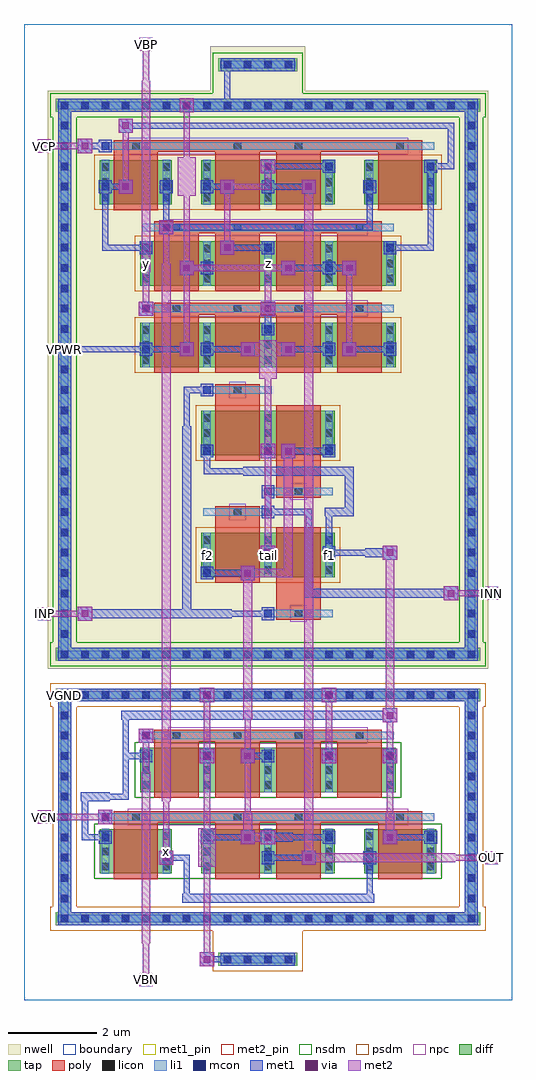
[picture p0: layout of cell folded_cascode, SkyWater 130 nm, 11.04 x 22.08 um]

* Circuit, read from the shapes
.subckt folded_cascode INN INP OUT VBN VBP VCN VCP VGND VPWR f1 f2 tail x y z
XM1 x VCN f1 VGND sky130_fd_pr__nfet_01v8 w=1 l=1 m=2
XM2 VGND VBN f1 VGND sky130_fd_pr__nfet_01v8 w=1 l=1 m=2
XM3 OUT VCN f2 VGND sky130_fd_pr__nfet_01v8 w=1 l=1 m=2
XM4 f2 VBN VGND VGND sky130_fd_pr__nfet_01v8 w=1 l=1 m=2
XM5 x VCP y VPWR sky130_fd_pr__pfet_01v8 w=1 l=1 m=2
XM6 tail VBP VPWR VPWR sky130_fd_pr__pfet_01v8 w=1 l=1 m=4
XM7 VPWR x y VPWR sky130_fd_pr__pfet_01v8 w=1 l=1 m=2
XM8 tail INN f2 VPWR sky130_fd_pr__pfet_01v8 w=1 l=1 m=2
XM9 tail INP f1 VPWR sky130_fd_pr__pfet_01v8 w=1 l=1 m=2
XM10 z x VPWR VPWR sky130_fd_pr__pfet_01v8 w=1 l=1 m=2
XM11 OUT VCP z VPWR sky130_fd_pr__pfet_01v8 w=1 l=1 m=2
.ends

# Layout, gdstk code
import gdstk
lib = gdstk.Library(unit=1e-6, precision=1e-09)
def R(c, l, rs):  # rectangles x0, y0, x1, y1
    for r in rs: c.add(gdstk.rectangle(r[:2], r[2:], *l))
def A(c, l, x, y, w, h, nx, ny, dx, dy):  # array of equal rectangles
    R(c, l, [(x+i*dx, y+j*dy, x+i*dx+w, y+j*dy+h) for i in range(nx) for j in range(ny)])
nwell = (64, 20)
diff = (65, 20)
tap = (65, 44)
poly = (66, 20)
licon = (66, 44)
li1 = (67, 20)
mcon = (67, 44)
met1_pin = (68, 16)
met1 = (68, 20)
via = (68, 44)
met2_pin = (69, 16)
met2 = (69, 20)
nsdm = (93, 44)
psdm = (94, 20)
npc = (95, 20)
boundary = (235, 4)

folded_cascode = lib.new_cell('folded_cascode')
R(folded_cascode, nwell, [(0.535,7.495,10.505,20.565), (4.215,20.565,6.365,21.58)])
R(folded_cascode, diff, [(1.715,2.865,3.345,3.865), (4.015,2.865,7.025,3.865), (7.695,2.865,9.325,3.865), (2.635,4.705,8.405,5.705), (4.015,9.565,7.025,10.565), (4.015,12.325,7.025,13.325), (2.635,14.32,8.405,15.32), (2.635,16.16,8.405,17.16), (1.715,18,3.345,19), (4.015,18,7.025,19), (7.695,18,9.325,19)])
R(folded_cascode, tap, [(4.395,0.775,6.185,1.065), (0.715,1.695,10.325,1.985), (0.775,1.695,1.065,7.045), (9.975,1.695,10.265,7.045), (0.715,6.755,10.325,7.045), (0.715,7.675,10.325,7.965), (0.775,7.675,1.065,20.385), (9.975,7.675,10.265,20.385), (0.715,20.095,10.325,20.385), (4.395,21.015,6.185,21.305)])
A(folded_cascode, poly, 2.95, 4.575, 1, 1.405, 4, 1, 1.38, 0)
A(folded_cascode, poly, 2.95, 14.19, 1, 1.45, 4, 2, 1.38, 1.84)
R(folded_cascode, poly, [(2.03,2.735,3.03,4.14), (4.33,2.735,5.33,4.14), (5.71,2.735,6.71,4.14), (8.01,2.735,9.01,4.14), (2.03,4.005,9.01,4.275), (2.95,5.845,8.09,6.115), (5.71,8.605,6.71,8.875), (5.71,8.74,6.71,10.695), (4.33,9.435,5.33,11.04), (4.33,10.905,5.33,11.175), (5.71,11.365,6.71,11.635), (5.71,11.5,6.71,13.455), (4.33,12.195,5.33,13.8), (4.33,13.665,5.33,13.935), (2.95,15.505,8.09,15.775), (2.95,17.345,8.09,17.615), (2.03,17.87,3.03,19.32), (4.33,17.87,5.33,19.32), (5.71,17.87,6.71,19.32), (8.01,17.87,9.01,19.32), (2.03,19.185,9.01,19.455)])
A(folded_cascode, licon, 4.515, 0.835, 0.17, 0.17, 4, 2, 0.46, 20.24)
A(folded_cascode, licon, 0.835, 1.755, 0.17, 0.17, 21, 2, 0.46, 5.06)
A(folded_cascode, licon, 0.835, 2.215, 0.17, 0.17, 1, 10, 0, 0.46)
A(folded_cascode, licon, 10.035, 2.215, 0.17, 0.17, 1, 10, 0, 0.46)
A(folded_cascode, licon, 1.755, 2.94, 0.17, 0.17, 1, 3, 0, 0.34)
A(folded_cascode, licon, 3.135, 2.94, 0.17, 0.17, 1, 3, 0, 0.34)
A(folded_cascode, licon, 4.055, 2.94, 0.17, 0.17, 3, 3, 1.38, 0.34)
A(folded_cascode, licon, 7.735, 2.94, 0.17, 0.17, 1, 3, 0, 0.34)
A(folded_cascode, licon, 9.115, 2.94, 0.17, 0.17, 1, 3, 0, 0.34)
A(folded_cascode, licon, 2.675, 4.78, 0.17, 0.17, 5, 3, 1.38, 0.34)
A(folded_cascode, licon, 3.365, 5.895, 0.17, 0.17, 4, 2, 1.38, 9.66)
A(folded_cascode, licon, 0.835, 7.735, 0.17, 0.17, 21, 2, 0.46, 12.42)
A(folded_cascode, licon, 0.835, 8.195, 0.17, 0.17, 1, 26, 0, 0.46)
A(folded_cascode, licon, 10.035, 8.195, 0.17, 0.17, 1, 26, 0, 0.46)
A(folded_cascode, licon, 4.055, 9.64, 0.17, 0.17, 3, 3, 1.38, 0.34)
A(folded_cascode, licon, 4.055, 12.4, 0.17, 0.17, 3, 3, 1.38, 0.34)
A(folded_cascode, licon, 2.675, 14.395, 0.17, 0.17, 5, 3, 1.38, 0.34)
A(folded_cascode, licon, 2.675, 16.235, 0.17, 0.17, 5, 3, 1.38, 0.34)
A(folded_cascode, licon, 3.365, 17.395, 0.17, 0.17, 4, 1, 1.38, 0)
A(folded_cascode, licon, 1.755, 18.075, 0.17, 0.17, 1, 3, 0, 0.34)
A(folded_cascode, licon, 3.135, 18.075, 0.17, 0.17, 1, 3, 0, 0.34)
A(folded_cascode, licon, 4.055, 18.075, 0.17, 0.17, 3, 3, 1.38, 0.34)
A(folded_cascode, licon, 7.735, 18.075, 0.17, 0.17, 1, 3, 0, 0.34)
A(folded_cascode, licon, 9.115, 18.075, 0.17, 0.17, 1, 3, 0, 0.34)
R(folded_cascode, licon, [(2.445,4.055,2.615,4.225), (4.745,4.055,4.915,4.225), (6.125,4.055,6.295,4.225), (8.425,4.055,8.595,4.225), (6.125,8.655,6.295,8.825), (4.745,10.955,4.915,11.125), (6.125,11.415,6.295,11.585), (4.745,13.715,4.915,13.885), (2.445,19.235,2.615,19.405), (4.745,19.235,4.915,19.405), (6.125,19.235,6.295,19.405), (8.425,19.235,8.595,19.405)])
A(folded_cascode, li1, 4.055, 2.86, 0.17, 1.01, 3, 2, 1.38, 6.7)
A(folded_cascode, li1, 2.675, 4.7, 0.17, 1.01, 5, 2, 1.38, 9.615)
A(folded_cascode, li1, 4.055, 12.32, 0.17, 1.01, 3, 2, 1.38, 5.675)
A(folded_cascode, li1, 2.675, 16.155, 0.17, 1.01, 5, 1, 1.38, 0)
R(folded_cascode, li1, [(4.435,0.835,6.145,1.005), (0.755,1.755,10.285,1.925), (0.835,1.755,1.005,6.985), (10.035,1.755,10.205,6.985), (1.755,2.86,1.925,3.87), (3.135,2.86,3.305,3.87), (7.735,2.86,7.905,3.87), (9.115,2.86,9.285,3.87), (1.755,4.055,9.285,4.225), (2.675,5.895,8.365,6.065), (0.755,6.815,10.285,6.985), (0.755,7.735,10.285,7.905), (0.835,7.735,1.005,20.325), (10.035,7.735,10.205,20.325), (5.435,8.655,6.985,8.825), (4.055,10.955,5.605,11.125), (5.435,11.415,6.985,11.585), (4.055,13.715,5.605,13.885), (2.675,15.555,8.365,15.725), (2.675,17.395,8.365,17.565), (1.755,17.995,1.925,19.005), (3.135,17.995,3.305,19.005), (7.735,17.995,7.905,19.005), (9.115,17.995,9.285,19.005), (1.755,19.235,9.285,19.405), (0.755,20.155,10.285,20.325), (4.435,21.075,6.145,21.245)])
A(folded_cascode, mcon, 4.515, 0.835, 0.17, 0.17, 4, 2, 0.46, 20.24)
A(folded_cascode, mcon, 0.835, 1.755, 0.17, 0.17, 21, 2, 0.46, 5.06)
A(folded_cascode, mcon, 0.835, 3.135, 0.17, 0.17, 5, 1, 2.3, 0)
A(folded_cascode, mcon, 0.835, 3.595, 0.17, 0.17, 1, 7, 0, 0.46)
A(folded_cascode, mcon, 10.035, 3.595, 0.17, 0.17, 1, 7, 0, 0.46)
A(folded_cascode, mcon, 2.675, 5.435, 0.17, 0.17, 5, 1, 1.38, 0)
A(folded_cascode, mcon, 0.835, 7.735, 0.17, 0.17, 21, 2, 0.46, 12.42)
A(folded_cascode, mcon, 0.835, 8.655, 0.17, 0.17, 3, 2, 4.6, 2.3)
A(folded_cascode, mcon, 0.835, 9.115, 0.17, 0.17, 1, 4, 0, 0.46)
A(folded_cascode, mcon, 10.035, 9.115, 0.17, 0.17, 1, 4, 0, 0.46)
A(folded_cascode, mcon, 0.835, 11.415, 0.17, 0.17, 3, 2, 4.6, 3.68)
A(folded_cascode, mcon, 0.835, 11.875, 0.17, 0.17, 1, 7, 0, 0.46)
A(folded_cascode, mcon, 10.035, 11.875, 0.17, 0.17, 1, 7, 0, 0.46)
A(folded_cascode, mcon, 4.055, 12.335, 0.17, 0.17, 3, 1, 1.38, 0)
A(folded_cascode, mcon, 4.055, 14.635, 0.17, 0.17, 1, 3, 0, 1.84)
A(folded_cascode, mcon, 0.835, 15.555, 0.17, 0.17, 1, 10, 0, 0.46)
A(folded_cascode, mcon, 10.035, 15.555, 0.17, 0.17, 1, 6, 0, 0.46)
A(folded_cascode, mcon, 2.675, 16.935, 0.17, 0.17, 3, 1, 2.76, 0)
A(folded_cascode, mcon, 5.435, 18.315, 0.17, 0.17, 3, 1, 2.3, 0)
A(folded_cascode, mcon, 10.035, 18.775, 0.17, 0.17, 1, 3, 0, 0.46)
R(folded_cascode, mcon, [(0.835,2.215,1.005,2.385), (10.035,2.215,10.205,2.385), (0.835,2.675,1.005,2.845), (10.035,2.675,10.205,2.845), (1.755,3.595,1.925,3.765), (4.055,3.595,4.225,3.765), (6.815,3.595,6.985,3.765), (9.115,3.595,9.285,3.765), (1.755,4.055,1.925,4.225), (2.675,5.895,2.845,6.065), (0.835,8.195,1.005,8.365), (10.035,8.195,10.205,8.365), (4.055,9.575,4.225,9.745), (5.435,10.035,5.605,10.205), (6.815,10.035,6.985,10.205), (4.055,13.715,4.225,13.885), (2.675,14.635,2.845,14.805), (6.815,14.635,6.985,14.805), (8.195,14.635,8.365,14.805), (2.675,15.555,2.845,15.725), (6.815,16.475,6.985,16.645), (3.135,17.395,3.305,17.565), (1.755,18.315,1.925,18.485), (3.135,18.315,3.305,18.485), (6.815,18.775,6.985,18.945), (9.115,18.775,9.285,18.945), (1.755,19.235,1.925,19.405)])
R(folded_cascode, met1_pin, [(0.85,6.83,0.99,6.97), (0.85,14.65,0.99,14.79)])
A(folded_cascode, met1, 3.075, 3.075, 0.29, 0.29, 3, 1, 2.3, 0)
A(folded_cascode, met1, 2.615, 5.375, 0.29, 0.29, 5, 1, 1.38, 0)
A(folded_cascode, met1, 5.36, 12.26, 0.32, 0.32, 1, 3, 0, 3.22)
A(folded_cascode, met1, 3.995, 12.275, 0.29, 0.29, 3, 1, 1.38, 0)
A(folded_cascode, met1, 3.995, 14.575, 0.29, 0.29, 1, 3, 0, 1.84)
A(folded_cascode, met1, 2.615, 16.875, 0.29, 0.29, 3, 1, 2.76, 0)
R(folded_cascode, met1, [(3.98,0.76,4.3,1.08), (4.455,0.775,6.125,1.065), (4.07,0.85,4.67,0.99), (4.53,0.85,4.67,0.99), (0.775,1.695,10.265,1.985), (0.775,1.695,1.065,7.045), (9.975,1.695,10.265,7.045), (3.58,2.2,7.92,2.4), (3.61,2.23,3.75,3.29), (7.75,2.23,7.89,3.29), (3.06,3.06,3.38,3.38), (6.28,3.06,6.6,3.38), (3.15,3.15,3.75,3.29), (5.45,3.15,6.51,3.29), (4.9,3.52,5.22,3.84), (5.36,3.52,5.68,3.84), (8.12,3.52,8.44,3.84), (1.695,3.535,1.985,3.825), (3.995,3.535,4.285,3.825), (6.755,3.535,7.045,3.825), (9.055,3.535,9.345,3.825), (5.42,3.58,6.08,3.78), (1.31,3.61,1.45,4.67), (1.31,3.61,1.91,3.75), (4.07,3.61,5.13,3.75), (5.91,3.61,6.97,3.75), (8.21,3.61,9.27,3.75), (1.68,3.98,2,4.3), (1.695,3.995,1.985,4.285), (1.28,4.5,1.94,4.7), (1.77,4.53,2.37,4.67), (2.23,4.53,2.37,5.59), (3.98,5.36,4.3,5.68), (4.9,5.36,5.22,5.68), (6.74,5.36,7.06,5.68), (8.12,5.36,8.44,5.68), (2.23,5.45,2.37,6.51), (2.23,5.45,2.83,5.59), (4.99,5.45,5.59,5.59), (2.6,5.82,2.92,6.14), (2.615,5.835,2.905,6.125), (8.12,6.28,8.44,6.6), (2.2,6.34,8.38,6.54), (3.98,6.74,4.3,7.06), (6.74,6.74,7.06,7.06), (0.775,6.755,10.265,7.045), (0.85,6.83,0.99,6.97), (0.85,6.83,4.21,6.97), (4.07,6.83,6.97,6.97), (4.07,6.83,4.21,6.97), (0.775,7.675,10.265,7.965), (0.775,7.675,1.065,20.385), (9.975,7.675,10.265,20.385), (1.22,8.58,1.54,8.9), (5.375,8.595,5.665,8.885), (1.28,8.64,4.7,8.84), (3.58,8.64,3.78,12.98), (4.53,8.67,5.59,8.81), (9.5,9.04,9.82,9.36), (6.34,9.1,9.76,9.3), (6.34,9.1,6.54,10.68), (4.9,9.5,5.22,9.82), (3.995,9.515,4.285,9.805), (4.07,9.59,5.13,9.73), (5.36,9.96,5.68,10.28), (8.12,9.96,8.44,10.28), (5.375,9.975,5.665,10.265), (6.755,9.975,7.045,10.265), (7.72,10.02,8.38,10.22), (6.83,10.05,6.97,11.11), (6.83,10.05,7.89,10.19), (6.37,10.51,6.51,11.11), (5.375,10.895,5.665,11.185), (6.8,10.94,7.46,11.14), (7.26,10.94,7.46,12.06), (5.45,10.97,6.51,11.11), (5.45,10.97,5.59,11.57), (5.375,11.355,5.665,11.645), (4.96,11.86,7.46,12.06), (4.07,11.89,5.13,12.03), (4.07,11.89,4.21,12.49), (5.82,12.26,6.14,12.58), (5.91,12.35,6.97,12.49), (3.61,12.81,3.75,13.87), (3.995,13.655,4.285,13.945), (3.61,13.73,4.21,13.87), (3.52,14.56,3.84,14.88), (4.9,14.56,5.22,14.88), (5.82,14.56,6.14,14.88), (7.2,14.56,7.52,14.88), (2.615,14.575,2.905,14.865), (6.755,14.575,7.045,14.865), (8.135,14.575,8.425,14.865), (0.85,14.65,0.99,14.79), (0.85,14.65,2.83,14.79), (2.69,14.65,3.75,14.79), (4.07,14.65,5.13,14.79), (5.91,14.65,6.97,14.79), (7.29,14.65,8.35,14.79), (5.375,15.035,5.665,15.325), (5.45,15.11,5.59,15.71), (2.6,15.48,2.92,15.8), (2.615,15.495,2.905,15.785), (3.52,16.4,3.84,16.72), (5.82,16.4,6.14,16.72), (7.2,16.4,7.52,16.72), (6.755,16.415,7.045,16.705), (3.61,16.49,4.21,16.63), (5.91,16.49,6.97,16.63), (6.83,16.49,7.43,16.63), (4.44,16.86,4.76,17.18), (1.77,16.95,2.83,17.09), (1.77,16.95,1.91,18.47), (4.53,16.95,5.59,17.09), (8.21,16.95,9.27,17.09), (9.13,16.95,9.27,18.93), (3.06,17.32,3.38,17.64), (3.075,17.335,3.365,17.625), (3.15,17.41,3.29,18.47), (3.15,17.41,7.89,17.55), (7.75,17.41,7.89,18.47), (2.14,18.24,2.46,18.56), (4.44,18.24,4.76,18.56), (6.28,18.24,6.6,18.56), (1.695,18.255,1.985,18.545), (3.075,18.255,3.365,18.545), (5.375,18.255,5.665,18.545), (7.675,18.255,7.965,18.545), (1.77,18.33,2.37,18.47), (4.07,18.33,4.67,18.47), (5.45,18.33,6.51,18.47), (6.755,18.715,7.045,19.005), (9.055,18.715,9.345,19.005), (5.45,18.79,6.97,18.93), (9.13,18.79,9.73,18.93), (9.59,18.79,9.73,19.85), (1.22,19.16,1.54,19.48), (1.695,19.175,1.985,19.465), (1.31,19.25,1.91,19.39), (2.14,19.62,2.46,19.94), (2.23,19.71,9.73,19.85), (3.52,20.08,3.84,20.4), (0.775,20.095,10.265,20.385), (3.61,20.17,4.67,20.31), (3.61,20.17,3.75,20.31), (4.53,20.17,4.67,21.23), (4.455,21.015,6.125,21.305), (4.53,21.09,4.67,21.23)])
A(folded_cascode, via, 5.445, 12.345, 0.15, 0.15, 1, 3, 0, 3.22)
R(folded_cascode, via, [(4.065,0.845,4.215,0.995), (3.145,3.145,3.295,3.295), (6.365,3.145,6.515,3.295), (4.985,3.605,5.135,3.755), (5.445,3.605,5.595,3.755), (8.205,3.605,8.355,3.755), (1.765,4.065,1.915,4.215), (4.065,5.445,4.215,5.595), (4.985,5.445,5.135,5.595), (6.825,5.445,6.975,5.595), (8.205,5.445,8.355,5.595), (2.685,5.905,2.835,6.055), (8.205,6.365,8.355,6.515), (4.065,6.825,4.215,6.975), (6.825,6.825,6.975,6.975), (1.305,8.665,1.455,8.815), (9.585,9.125,9.735,9.275), (4.985,9.585,5.135,9.735), (5.445,10.045,5.595,10.195), (8.205,10.045,8.355,10.195), (5.905,12.345,6.055,12.495), (3.605,14.645,3.755,14.795), (4.985,14.645,5.135,14.795), (5.905,14.645,6.055,14.795), (7.285,14.645,7.435,14.795), (2.685,15.565,2.835,15.715), (3.605,16.485,3.755,16.635), (5.905,16.485,6.055,16.635), (7.285,16.485,7.435,16.635), (4.525,16.945,4.675,17.095), (3.145,17.405,3.295,17.555), (2.225,18.325,2.375,18.475), (4.525,18.325,4.675,18.475), (6.365,18.325,6.515,18.475), (1.305,19.245,1.455,19.395), (2.225,19.705,2.375,19.855), (3.605,20.165,3.755,20.315)])
R(folded_cascode, met2_pin, [(2.61,0.31,2.91,0.61), (10.43,3.07,10.73,3.37), (0.31,3.99,0.61,4.29), (0.31,8.59,0.61,8.89), (10.43,9.05,10.73,9.35), (0.31,19.17,0.61,19.47), (2.61,21.47,2.91,21.77)])
A(folded_cascode, met2, 5.36, 12.26, 0.32, 0.32, 1, 3, 0, 3.22)
R(folded_cascode, met2, [(2.61,0.31,2.91,0.61), (2.69,0.39,2.83,1.45), (2.69,0.39,2.83,0.53), (3.98,0.76,4.3,1.08), (4.07,0.85,4.21,3.29), (2.66,1.28,2.86,5.16), (3.94,3.02,4.34,3.88), (3.06,3.06,3.38,3.38), (6.28,3.06,6.6,3.38), (10.43,3.07,10.73,3.37), (6.34,3.12,6.54,18.5), (6.34,3.12,9.76,3.32), (3.15,3.15,3.29,4.67), (9.59,3.15,10.65,3.29), (10.51,3.15,10.65,3.29), (4.9,3.52,5.22,3.84), (5.36,3.52,5.68,3.84), (8.12,3.52,8.44,3.84), (4.96,3.58,5.62,3.78), (4.96,3.58,5.16,4.24), (8.18,3.58,8.38,4.24), (4.07,3.61,4.21,5.59), (1.68,3.98,2,4.3), (0.31,3.99,0.61,4.29), (0.39,4.07,0.53,4.21), (0.39,4.07,1.91,4.21), (4.99,4.07,5.13,5.59), (8.21,4.07,8.35,5.59), (3.12,4.5,3.32,16.66), (2.69,4.99,2.83,6.05), (3.98,5.36,4.3,5.68), (4.9,5.36,5.22,5.68), (6.74,5.36,7.06,5.68), (8.12,5.36,8.44,5.68), (4.07,5.45,4.21,6.97), (4.99,5.45,5.13,6.51), (6.83,5.45,6.97,6.97), (8.21,5.45,8.35,6.51), (2.6,5.82,2.92,6.14), (8.12,6.28,8.44,6.6), (4.96,6.34,5.16,9.76), (8.18,6.34,8.38,10.22), (3.98,6.74,4.3,7.06), (6.74,6.74,7.06,7.06), (1.22,8.58,1.54,8.9), (0.31,8.59,0.61,8.89), (0.39,8.67,1.45,8.81), (0.39,8.67,0.53,8.81), (9.5,9.04,9.82,9.36), (10.43,9.05,10.73,9.35), (9.59,9.13,10.65,9.27), (10.51,9.13,10.65,9.27), (4.9,9.5,5.22,9.82), (4.96,9.56,6.08,9.76), (5.88,9.56,6.08,12.52), (5.36,9.96,5.68,10.28), (8.12,9.96,8.44,10.28), (5.45,10.05,5.59,12.49), (5.82,12.26,6.14,12.58), (5.45,12.35,5.59,14.33), (5.32,14.06,5.72,14.92), (3.52,14.56,3.84,14.88), (4.9,14.56,5.22,14.88), (5.22,14.56,5.32,14.88), (5.72,14.56,5.82,14.88), (5.82,14.56,6.14,14.88), (7.2,14.56,7.52,14.88), (3.61,14.65,3.75,16.63), (4.99,14.65,5.59,14.79), (5.45,14.65,6.05,14.79), (7.29,14.65,7.43,16.63), (2.6,15.48,2.92,15.8), (2.69,15.57,2.83,16.63), (5.45,15.57,5.59,16.63), (3.52,16.4,3.84,16.72), (5.82,16.4,6.14,16.72), (7.2,16.4,7.52,16.72), (2.66,16.46,2.86,20.8), (3.15,16.49,3.29,17.55), (3.61,16.49,3.75,18.47), (3.61,16.49,6.05,16.63), (4.44,16.86,4.76,17.18), (4.53,16.95,4.67,18.47), (3.06,17.32,3.38,17.64), (3.48,18.2,3.88,19.06), (2.14,18.24,2.46,18.56), (4.44,18.24,4.76,18.56), (6.28,18.24,6.6,18.56), (2.23,18.33,2.37,19.85), (4.53,18.33,5.59,18.47), (5.45,18.33,5.59,18.93), (3.61,18.79,3.75,20.31), (1.22,19.16,1.54,19.48), (0.31,19.17,0.61,19.47), (0.39,19.25,1.45,19.39), (0.39,19.25,0.53,19.39), (2.14,19.62,2.46,19.94), (3.52,20.08,3.84,20.4), (2.69,20.63,2.83,21.69), (2.61,21.47,2.91,21.77), (2.69,21.55,2.83,21.69)])
R(folded_cascode, nsdm, [(1.59,2.74,9.45,3.99), (2.51,4.58,8.53,5.83), (0.59,7.55,10.45,8.09), (0.65,8.09,1.19,19.97), (9.85,8.09,10.39,19.97), (0.59,19.97,10.45,20.51), (4.27,20.51,6.31,21.43)])
R(folded_cascode, psdm, [(4.27,0.65,6.31,1.57), (0.59,1.57,10.45,2.11), (0.65,2.11,1.19,6.63), (9.85,2.11,10.39,6.63), (0.59,6.63,10.45,7.17), (3.89,9.44,7.15,10.69), (3.89,12.2,7.15,13.45), (2.51,14.195,8.53,15.445), (2.51,16.035,8.53,17.285), (1.59,17.875,9.45,19.125)])
R(folded_cascode, npc, [(2.345,3.955,8.695,4.325), (3.265,5.795,7.775,6.165), (6.025,8.555,6.395,8.925), (4.645,10.855,5.015,11.225), (6.025,11.315,6.395,11.685), (4.645,13.615,5.015,13.985), (3.265,15.455,7.775,15.825), (3.265,17.295,7.775,17.665), (2.345,19.135,8.695,19.505)])
R(folded_cascode, boundary, [(0,0,11.04,22.08)])
folded_cascode.add(gdstk.Label('f2', (4.14,10.065), layer=67, texttype=5))
folded_cascode.add(gdstk.Label('tail', (5.52,10.065), layer=67, texttype=5))
folded_cascode.add(gdstk.Label('f1', (6.9,10.065), layer=67, texttype=5))
folded_cascode.add(gdstk.Label('x', (3.22,3.365), layer=67, texttype=5))
folded_cascode.add(gdstk.Label('y', (2.76,16.66), layer=67, texttype=5))
folded_cascode.add(gdstk.Label('z', (5.52,16.66), layer=67, texttype=5))
folded_cascode.add(gdstk.Label('VPWR', (0.92,14.72), layer=68, texttype=5))
folded_cascode.add(gdstk.Label('VGND', (0.92,6.9), layer=68, texttype=5))
folded_cascode.add(gdstk.Label('INP', (0.46,8.74), layer=69, texttype=5))
folded_cascode.add(gdstk.Label('INN', (10.58,9.2), layer=69, texttype=5))
folded_cascode.add(gdstk.Label('VBP', (2.76,21.62), layer=69, texttype=5))
folded_cascode.add(gdstk.Label('VBN', (2.76,0.46), layer=69, texttype=5))
folded_cascode.add(gdstk.Label('VCN', (0.46,4.14), layer=69, texttype=5))
folded_cascode.add(gdstk.Label('VCP', (0.46,19.32), layer=69, texttype=5))
folded_cascode.add(gdstk.Label('OUT', (10.58,3.22), layer=69, texttype=5))
folded_cascode.add(gdstk.Label('VPWR', (0.92,14.72), layer=68, texttype=16))
folded_cascode.add(gdstk.Label('VGND', (0.92,6.9), layer=68, texttype=16))
folded_cascode.add(gdstk.Label('INP', (0.46,8.74), layer=69, texttype=16))
folded_cascode.add(gdstk.Label('INN', (10.58,9.2), layer=69, texttype=16))
folded_cascode.add(gdstk.Label('VBP', (2.76,21.62), layer=69, texttype=16))
folded_cascode.add(gdstk.Label('VBN', (2.76,0.46), layer=69, texttype=16))
folded_cascode.add(gdstk.Label('VCN', (0.46,4.14), layer=69, texttype=16))
folded_cascode.add(gdstk.Label('VCP', (0.46,19.32), layer=69, texttype=16))
folded_cascode.add(gdstk.Label('OUT', (10.58,3.22), layer=69, texttype=16))

lib.write_gds('folded_cascode.gds')
